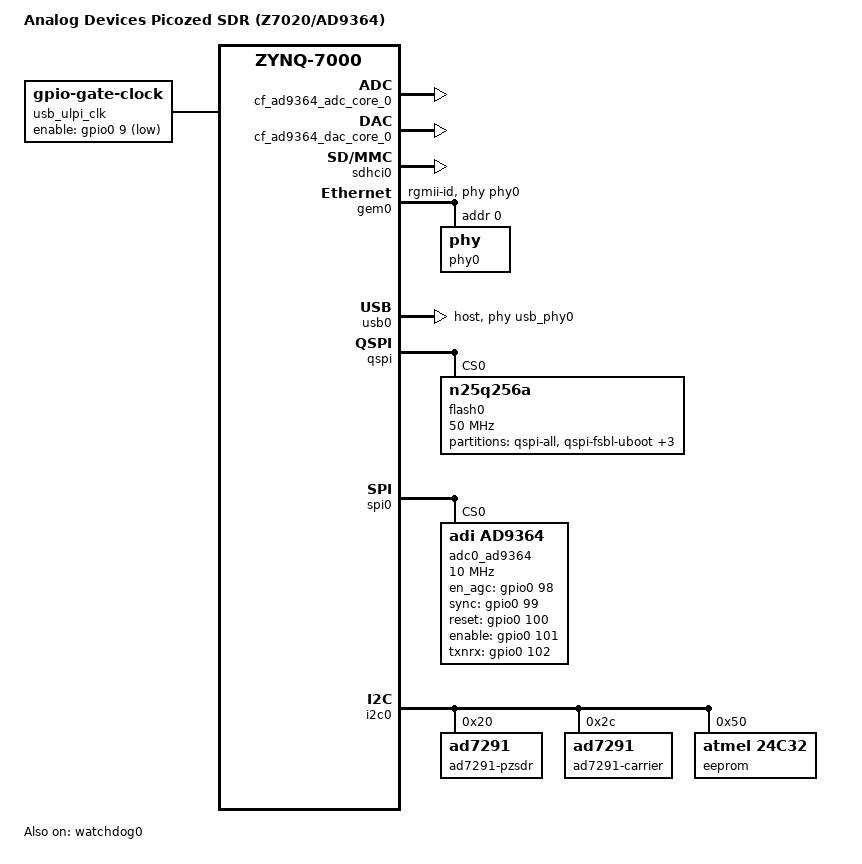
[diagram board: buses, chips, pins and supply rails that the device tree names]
/include/ "system-conf.dtsi"
/ {
  model = "Analog Devices Picozed SDR (Z7020/AD9364)";
  compatible = "xlnx,zynq-7000";
};

/ {
  chosen {
    bootargs = "console=ttyPS0,115200 earlyprintk clk_ignore_unused cma=384M rootfstype=ext4 root=/dev/mmcblk0p2 rw rootwait";
    stdout-path = "serial0:115200n8";
  };
  
  aliases {
    ethernet0 = &gem0;
    serial0 = &uart1;
    spi0 = &spi0;
    spi1 = &qspi;
  };

  clocks {
    ad9364_clkin: clock0 {
      #clock-cells = <0>;
      compatible = "adjustable-clock";
      clock-frequency = <39999906>;
      clock-accuracy = <200000>; /* 200 ppm (ppb) */
      clock-output-names = "ad9364_ext_refclk";
    };

    usb_ulpi_fixed_clk: clock1 {
      #clock-cells = <0>;
      compatible = "fixed-clock";
      clock-frequency = <24000000>;
      clock-output-names = "24MHz";
    };
  };

  usb_ulpi_clk: usb-ulpi-gpio-gate0 {
    #clock-cells = <0>;
    compatible = "gpio-gate-clock";
    clocks = <&usb_ulpi_fixed_clk>;
    enable-gpios = <&gpio0 9 1>; /* Active  Low */
  };

  usb_phy0: phy0 {
    compatible = "ulpi-phy";
    #phy-cells = <0>;
    reg = <0xe0002000 0x1000>;
    view-port = <0x0170>;
    drv-vbus;
  };

};

/* default */

&sdhci0 {
  status = "okay";
  disable-wp;
};

&watchdog0 {
  status = "okay";
  reset-on-timeout;
};

&gem0 {
  phy-handle = <&phy0>;
  phy-mode = "rgmii-id";

  xlnx,phy-reset-gpio = <&gpio0 8 1>; /* Active  Low */
  phy-reset-active-low; 

  phy0: phy@0 {
    device_type = "ethernet-phy";
    reg = <0x0>;
    marvell,reg-init = <3 16 0xff00 0x17 3 17 0xfff0 0x00>;
  };
};

&usb0 {
  status = "okay";
  xlnx,phy-reset-gpio = <&gpio0 7 0>;
  dr_mode = "host"; /* or "otg" */
  usb-phy = <&usb_phy0>;
};

/* QSPI PHY */
&qspi {
  status = "okay";
  is-dual = <0>;
  num-cs = <1>;

  flash0: flash@0 {
    #address-cells = <1>;
    #size-cells = <1>;
    spi-tx-bus-width = <1>;
    spi-rx-bus-width = <4>;
    compatible = "n25q256a", "jedec,spi-nor"; /* same as S25FL256 */
    reg = <0x0>;
    spi-max-frequency = <50000000>;

    partition@qspi-all {
      label = "qspi-all";
      reg = <0x00000000 0x02000000>; /* 32M */
    };
    partition@0 {
      label = "qspi-fsbl-uboot";
      reg = <0x00000000 0x00100000>;
    };
    partition@1 {
      label = "qspi-uboot-env";
      reg = <0x00100000 0x00020000>;
    };
    partition@2 {
      label = "qspi-nvmfs";
      reg = <0x00120000 0x000e0000>;
    };
    partition@3 {
      label = "qspi-linux";
      reg = <0x00200000 0x01e00000>;
    };

  };
};

&adc {
  xlnx,channels {
    #address-cells = <1>;
    #size-cells = <0>;
    channel@0 {
      reg = <0>;
    };
  };
};

&axi_ad9361_adc_dma {
  compatible = "adi,axi-dmac-1.00.a";
  interrupts = <0 57 4>; /* Lane (8+5)=13: 57 +32=(84+5)89 +32=121  Zynq PS IRQ config [61:68][84:91] */
  clocks = <&clkc 16>;
  #dma-cells = <1>;

  adi,channels {
    #size-cells = <0>;
    #address-cells = <1>;

    dma-channel@0 {
      reg = <0>;
      adi,source-bus-width = <64>;
      adi,source-bus-type = <2>;
      adi,destination-bus-width = <64>;
      adi,destination-bus-type = <0>;
    };
  };
};

&axi_ad9361_dac_dma {
  compatible = "adi,axi-dmac-1.00.a";
  interrupts = <0 56 4>; /* Lane  (8+4)=12: 56 +32=(84+4)88 +32=120  Zynq PS IRQ config [61:68][84:91] */
  clocks = <&clkc 16>;
  #dma-cells = <1>;

  adi,channels {
    #size-cells = <0>;
    #address-cells = <1>;

    dma-channel@0 {
      reg = <0>;
      adi,source-bus-width = <64>;
      adi,source-bus-type = <0>;
      adi,destination-bus-width = <64>;
      adi,destination-bus-type = <2>;
    };
  };
};

/ {

  fpga_axi: fpga-axi0 {
    compatible = "simple-bus";
    #address-cells = <0x1>;
    #size-cells = <0x1>;
    ranges;

    cf_ad9364_adc_core_0: cf-ad9361-lpc@79020000 {
      compatible = "adi,axi-ad9361-6.00.a";
      reg = <0x79020000 0x6000>;
      dmas = <&axi_ad9361_adc_dma 0>;
      dma-names = "rx";
      spibus-connected = <&adc0_ad9364>;
      adi,axi-decimation-core-available;
    };

    cf_ad9364_dac_core_0: cf-ad9361-dds-core-lpc@79024000 {
      compatible = "adi,axi-ad9364-dds-6.00.a";
      reg = <0x79024000 0x1000>;
      clocks = <&adc0_ad9364 13>;
      clock-names = "sampl_clk";
      dmas = <&axi_ad9361_dac_dma 0>;
      dma-names = "tx";
    adi,axi-interpolation-core-available;
      adi,axi-dds-default-scale = <0>;
    };

    mwipcore@43c00000 {
      compatible = "mathworks,mwipcore-axi4lite-v1.00";
      reg = <0x43c00000 0xffff>;
    };
  };

};

&spi0 {
  status = "okay";

  adc0_ad9364: ad9361-phy@0 {
    #address-cells = <1>;
    #size-cells = <0>;
    #clock-cells = <1>;
    compatible = "adi,ad9364";

    /* SPI Setup */
    reg = <0>;
    spi-cpha;
    spi-max-frequency = <10000000>;

    /* Clocks */
    clocks = <&ad9364_clkin 0>;
    clock-names = "ad9364_ext_refclk", "ext_tx_lo", "ext_rx_lo";
    clock-output-names = "rx_sampl_clk", "tx_sampl_clk";

    /* Digital Interface Control */

    /* adi,digital-interface-tune-skip-mode:
      * 0 = TUNE RX&TX
      * 1 = SKIP TX
      * 2 = SKIP ALL
      */
    adi,digital-interface-tune-skip-mode = <0>;

    adi,pp-tx-swap-enable;
    adi,pp-rx-swap-enable;
    adi,rx-frame-pulse-mode-enable;
    adi,lvds-mode-enable;
    adi,lvds-bias-mV = <150>;
    adi,lvds-rx-onchip-termination-enable;
    adi,rx-data-delay = <4>;
    adi,tx-fb-clock-delay = <7>;

    adi,xo-disable-use-ext-refclk-enable;


    /* Mode Setup */

    //adi,split-gain-table-mode-enable;

    /* ENSM Mode */
    adi,frequency-division-duplex-mode-enable;
    //adi,ensm-enable-pin-pulse-mode-enable;
    //adi,ensm-enable-txnrx-control-enable;

    /* adi,rx-rf-port-input-select:
     * 0 = (RX1A_N &  RX1A_P) and (RX2A_N & RX2A_P) enabled; balanced
     * 1 = (RX1B_N &  RX1B_P) and (RX2B_N & RX2B_P) enabled; balanced
     * 2 = (RX1C_N &  RX1C_P) and (RX2C_N & RX2C_P) enabled; balanced
     *
     * 3 = RX1A_N and RX2A_N enabled; unbalanced
     * 4 = RX1A_P and RX2A_P enabled; unbalanced
     * 5 = RX1B_N and RX2B_N enabled; unbalanced
     * 6 = RX1B_P and RX2B_P enabled; unbalanced
     * 7 = RX1C_N and RX2C_N enabled; unbalanced
     * 8 = RX1C_P and RX2C_P enabled; unbalanced
     */

    adi,rx-rf-port-input-select = <0>; /* (RX1A_N &  RX1A_P) and (RX2A_N & RX2A_P) enabled; balanced */

    /* adi,tx-rf-port-input-select:
     * 0  TX1A, TX2A
     * 1  TX1B, TX2B
     */

    adi,tx-rf-port-input-select = <0>; /* TX1A, TX2A */
    //adi,update-tx-gain-in-alert-enable;
    adi,tx-attenuation-mdB = <10000>;
    //adi,tx-lo-powerdown-managed-enable;

    adi,rf-rx-bandwidth-hz = <18000000>;
    adi,rf-tx-bandwidth-hz = <18000000>;
    adi,rx-synthesizer-frequency-hz = /bits/ 64 <2400000000>;
    adi,tx-synthesizer-frequency-hz = /bits/ 64 <2450000000>;

    /*        BBPLL     ADC        R2CLK     R1CLK    CLKRF    RSAMPL  */
    adi,rx-path-clock-frequencies = <983040000 245760000 122880000 61440000 30720000 30720000>;
    /*        BBPLL     DAC        T2CLK     T1CLK    CLKTF    TSAMPL  */
    adi,tx-path-clock-frequencies = <983040000 122880000 122880000 61440000 30720000 30720000>;

    /* Gain Control */

    /* adi,gc-rx[1|2]-mode:
     * 0 = RF_GAIN_MGC
     * 1 = RF_GAIN_FASTATTACK_AGC
     * 2 = RF_GAIN_SLOWATTACK_AGC
     * 3 = RF_GAIN_HYBRID_AGC
     */

    adi,gc-rx1-mode = <2>;
    adi,gc-rx2-mode = <2>;
    adi,gc-adc-ovr-sample-size = <4>; /* sum 4 samples */
    adi,gc-adc-small-overload-thresh = <47>; /* sum of squares */
    adi,gc-adc-large-overload-thresh = <58>; /* sum of squares */
    adi,gc-lmt-overload-high-thresh = <800>; /* mV */
    adi,gc-lmt-overload-low-thresh = <704>; /* mV */
    adi,gc-dec-pow-measurement-duration = <8192>; /* 0..524288 Samples */
    adi,gc-low-power-thresh = <24>; /* 0..-64 dBFS vals are set pos */
    //adi,gc-dig-gain-enable;
    //adi,gc-max-dig-gain = <15>;

    /* Manual Gain Control Setup */

    //adi,mgc-rx1-ctrl-inp-enable; /* uncomment to use ctrl inputs */
    //adi,mgc-rx2-ctrl-inp-enable; /* uncomment to use ctrl inputs */
    adi,mgc-inc-gain-step = <2>;
    adi,mgc-dec-gain-step = <2>;

    /* adi,mgc-split-table-ctrl-inp-gain-mode:
     * (relevant if adi,split-gain-table-mode-enable is set)
     * 0 = AGC determine this
     * 1 = only in LPF
     * 2 = only in LMT
     */

    adi,mgc-split-table-ctrl-inp-gain-mode = <0>;

    /* Automatic Gain Control Setup */

    adi,agc-attack-delay-extra-margin-us= <1>; /* us */
    adi,agc-outer-thresh-high = <5>; /* -dBFS */
    adi,agc-outer-thresh-high-dec-steps = <2>; /* 0..15 */
    adi,agc-inner-thresh-high = <10>; /* -dBFS */
    adi,agc-inner-thresh-high-dec-steps = <1>; /* 0..7 */
    adi,agc-inner-thresh-low = <12>; /* -dBFS */
    adi,agc-inner-thresh-low-inc-steps = <1>; /* 0..7 */
    adi,agc-outer-thresh-low = <18>; /* -dBFS */
    adi,agc-outer-thresh-low-inc-steps = <2>; /* 0..15 */

    adi,agc-adc-small-overload-exceed-counter = <10>; /* 0..15 */
    adi,agc-adc-large-overload-exceed-counter = <10>; /* 0..15 */
    adi,agc-adc-large-overload-inc-steps = <2>; /* 0..15 */
    //adi,agc-adc-lmt-small-overload-prevent-gain-inc-enable;
    adi,agc-lmt-overload-large-exceed-counter = <10>; /* 0..15 */
    adi,agc-lmt-overload-small-exceed-counter = <10>; /* 0..15 */
    adi,agc-lmt-overload-large-inc-steps = <2>; /* 0..7 */
    //adi,agc-dig-saturation-exceed-counter = <3>; /* 0..15 */
    //adi,agc-dig-gain-step-size = <4>; /* 1..8 */

    //adi,agc-sync-for-gain-counter-enable;
    adi,agc-gain-update-interval-us = <1000>;  /* 1ms */
    //adi,agc-immed-gain-change-if-large-adc-overload-enable;
    //adi,agc-immed-gain-change-if-large-lmt-overload-enable;

    /* Fast AGC */

    adi,fagc-dec-pow-measurement-duration = <64>; /* 64 Samples */
    //adi,fagc-allow-agc-gain-increase-enable;
    adi,fagc-lp-thresh-increment-steps = <1>;
    adi,fagc-lp-thresh-increment-time = <5>;

    adi,fagc-energy-lost-stronger-sig-gain-lock-exit-cnt = <8>;
    adi,fagc-final-overrange-count = <3>;
    //adi,fagc-gain-increase-after-gain-lock-enable;
    adi,fagc-gain-index-type-after-exit-rx-mode = <0>;
    adi,fagc-lmt-final-settling-steps = <1>;
    adi,fagc-lock-level = <10>;
    adi,fagc-lock-level-gain-increase-upper-limit = <5>;
    adi,fagc-lock-level-lmt-gain-increase-enable;

    adi,fagc-lpf-final-settling-steps = <1>;
    adi,fagc-optimized-gain-offset = <5>;
    adi,fagc-power-measurement-duration-in-state5 = <64>;
    adi,fagc-rst-gla-engergy-lost-goto-optim-gain-enable;
    adi,fagc-rst-gla-engergy-lost-sig-thresh-below-ll = <10>;
    adi,fagc-rst-gla-engergy-lost-sig-thresh-exceeded-enable;
    adi,fagc-rst-gla-if-en-agc-pulled-high-mode = <0>;
    adi,fagc-rst-gla-large-adc-overload-enable;
    adi,fagc-rst-gla-large-lmt-overload-enable;
    adi,fagc-rst-gla-stronger-sig-thresh-above-ll = <10>;
    adi,fagc-rst-gla-stronger-sig-thresh-exceeded-enable;
    adi,fagc-state-wait-time-ns = <260>;
    adi,fagc-use-last-lock-level-for-set-gain-enable;

    /* RSSI */

    /* adi,rssi-restart-mode:
     * 0 = AGC_IN_FAST_ATTACK_MODE_LOCKS_THE_GAIN,
     * 1 = EN_AGC_PIN_IS_PULLED_HIGH,
     * 2 = ENTERS_RX_MODE,
     * 3 = GAIN_CHANGE_OCCURS,
     * 4 = SPI_WRITE_TO_REGISTER,
     * 5 = GAIN_CHANGE_OCCURS_OR_EN_AGC_PIN_PULLED_HIGH,
     */
    adi,rssi-restart-mode = <3>;
    //adi,rssi-unit-is-rx-samples-enable;
    adi,rssi-delay = <1>; /* 1us */
    adi,rssi-wait = <1>; /* 1us */
    adi,rssi-duration = <1000>; /* 1ms */

    /* Control Outputs */
    adi,ctrl-outs-index = <0>;
    adi,ctrl-outs-enable-mask = <0xFF>;

    /* AuxADC Temp Sense Control */

    adi,temp-sense-measurement-interval-ms = <1000>;
    adi,temp-sense-offset-signed = <0xCE>;
    adi,temp-sense-periodic-measurement-enable;

    /* AuxDAC Control */

    adi,aux-dac-manual-mode-enable;

    adi,aux-dac1-default-value-mV = <0>;
    //adi,aux-dac1-active-in-rx-enable;
    //adi,aux-dac1-active-in-tx-enable;
    //adi,aux-dac1-active-in-alert-enable;
    adi,aux-dac1-rx-delay-us = <0>;
    adi,aux-dac1-tx-delay-us = <0>;

    adi,aux-dac2-default-value-mV = <0>;
    //adi,aux-dac2-active-in-rx-enable;
    //adi,aux-dac2-active-in-tx-enable;
    //adi,aux-dac2-active-in-alert-enable;
    adi,aux-dac2-rx-delay-us = <0>;
    adi,aux-dac2-tx-delay-us = <0>;

    /* Control GPIOs */
    en_agc-gpios = <&gpio0  98 0>; /* GPIO offset=54(MIO)+emio_gpio[44] */
    sync-gpios   = <&gpio0  99 0>; /* GPIO offset=54(MIO)+emio_gpio[45] */
    reset-gpios  = <&gpio0 100 0>; /* GPIO offset=54(MIO)+emio_gpio[46] */
    enable-gpios = <&gpio0 101 0>; /* GPIO offset=54(MIO)+emio_gpio[47] */
    txnrx-gpios  = <&gpio0 102 0>; /* GPIO offset=54(MIO)+emio_gpio[48] */

    /* Clock Output Setup */
    /* adi,clk-output-mode-select
     * CLKOUT CLKOUT Frequency
     * 0      Disabled
     * 1      XTALN (or DCXO) (buffered)
     * 2      ADC_CLK / 2
     * 3      ADC_CLK / 3
     * 4      ADC_CLK / 4
     * 5      ADC_CLK / 8
     * 6      ADC_CLK / 16
     * 7      ADC_CLK / 32
     * 8      ADC_CLK / 64
    */
    adi,clk-output-mode-select = <2>;
  };
};

&i2c0 {
  status = "okay";
  
  ad7291-pzsdr@20 {
    compatible = "ad7291";
    reg = <0x20>;
  };

  ad7291-carrier@2c {
    compatible = "ad7291";
    reg = <0x2c>;
  };

  eeprom@50 {
    compatible = "atmel,24c32";
    reg = <0x50>;
  };
};


